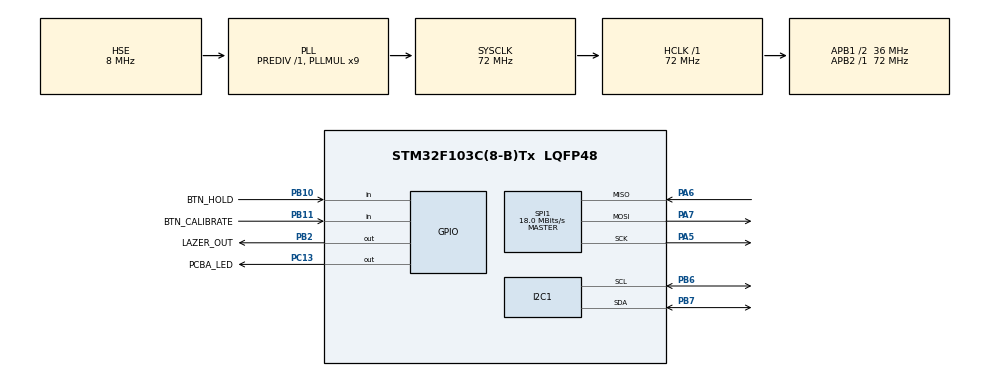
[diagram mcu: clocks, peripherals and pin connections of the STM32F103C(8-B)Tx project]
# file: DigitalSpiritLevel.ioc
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I2C1.I2C_Mode=I2C_Fast
Mcu.Family=STM32F1
Mcu.Name=STM32F103C(8-B)Tx
Mcu.Package=LQFP48
NVIC.PriorityGroup=NVIC_PRIORITYGROUP_4
PA5.Mode=Full_Duplex_Master
PA5.Signal=SPI1_SCK
PA6.Mode=Full_Duplex_Master
PA6.Signal=SPI1_MISO
PA7.Mode=Full_Duplex_Master
PA7.Signal=SPI1_MOSI
PB10.GPIO_Label=BTN_HOLD
PB10.Signal=GPIO_Input
PB11.GPIO_Label=BTN_CALIBRATE
PB11.Signal=GPIO_Input
PB2.GPIO_Label=LAZER_OUT
PB2.Signal=GPIO_Output
PB6.Mode=I2C
PB6.Signal=I2C1_SCL
PB7.Mode=I2C
PB7.Signal=I2C1_SDA
PC13-TAMPER-RTC.GPIO_Label=PCBA_LED
PC13-TAMPER-RTC.Signal=GPIO_Output
PD0-OSC_IN.Mode=HSE-External-Oscillator
PD0-OSC_IN.Signal=RCC_OSC_IN
PD1-OSC_OUT.Mode=HSE-External-Oscillator
PD1-OSC_OUT.Signal=RCC_OSC_OUT
ProjectManager.HeapSize=0x200
ProjectManager.StackSize=0x400
ProjectManager.TargetToolchain=STM32CubeIDE
RCC.AHBFreq_Value=72000000
RCC.APB1CLKDivider=RCC_HCLK_DIV2
RCC.APB1Freq_Value=36000000
RCC.APB1TimFreq_Value=72000000
RCC.APB2Freq_Value=72000000
RCC.APB2TimFreq_Value=72000000
RCC.HCLKFreq_Value=72000000
RCC.PLLMUL=RCC_PLL_MUL9
RCC.PLLSourceVirtual=RCC_PLLSOURCE_HSE
RCC.SYSCLKFreq_VALUE=72000000
RCC.SYSCLKSource=RCC_SYSCLKSOURCE_PLLCLK
RCC.USBFreq_Value=48000000
RCC.USBPrescaler=RCC_USBCLKSOURCE_PLL_DIV1_5
SPI1.BaudRatePrescaler=SPI_BAUDRATEPRESCALER_4
SPI1.CalculateBaudRate=18.0 MBits/s
SPI1.Direction=SPI_DIRECTION_2LINES
SPI1.Mode=SPI_MODE_MASTER
SPI1.VirtualType=VM_MASTER
board=custom

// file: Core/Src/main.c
/* USER CODE BEGIN Header */
/**
 ******************************************************************************
 * @file           : main.c
 * @brief          : Main program body
 ******************************************************************************
 * @attention
 *
 * Copyright (c) 2024 STMicroelectronics.
 * All rights reserved.
 *
 * This software is licensed under terms that can be found in the LICENSE file
 * in the root directory of this software component.
 * If no LICENSE file comes with this software, it is provided AS-IS.
 *
 ******************************************************************************
 */
/* USER CODE END Header */
#include "main.h"

/* USER CODE BEGIN Includes */
#include "MPU6050.h"
#include "ssd1306.h"
#include "ssd1306_fonts.h"
/* USER CODE END Includes */

I2C_HandleTypeDef hi2c1;

SPI_HandleTypeDef hspi1;

/* USER CODE BEGIN PV */
uint8_t btnSet = 0;
/* USER CODE END PV */

void SystemClock_Config(void);
static void MX_GPIO_Init(void);
static void MX_I2C1_Init(void);
static void MX_SPI1_Init(void);

int main(void) {

	/* MCU Configuration--------------------------------------------------------*/

	/* Reset of all peripherals, Initializes the Flash interface and the Systick. */
	HAL_Init();

	/* Configure the system clock */
	SystemClock_Config();

	/* Initialize all configured peripherals */
	MX_GPIO_Init();
	MX_I2C1_Init();
	MX_SPI1_Init();
	/* USER CODE BEGIN 2 */
	char screenData[50];

	MPU6050Init();
	HAL_Delay(100);
	ssd1306_Init();
	HAL_Delay(100);
	ssd1306_Fill(Black);

	//Display calibration message

	ssd1306_Fill(Black);

	ssd1306_SetCursor(0, 0);
	sprintf(screenData, "MPU6050");
	ssd1306_WriteString(screenData, Font_11x18, White);
	ssd1306_UpdateScreen();
	HAL_Delay(1000);

	ssd1306_Fill(Black);
	ssd1306_SetCursor(0, 0);
	sprintf(screenData, "Calibrating...");
	ssd1306_WriteString(screenData, Font_11x18, White);

	ssd1306_UpdateScreen();

	calibrateAccelerometer();
	calibrateGyro();

	/* USER CODE END 2 */

	/* Infinite loop */
	while (1) {

		/* USER CODE BEGIN 3 */
		MPU6050_data_t mpu_data = calculateTiltAngles();

		ssd1306_Fill(Black);
		ssd1306_SetCursor(0, 0);
		sprintf(screenData, "P:%.2f°", mpu_data.pitch);
		ssd1306_WriteString(screenData, Font_7x10, White);

		ssd1306_SetCursor(0, 10);
		sprintf(screenData, "R:%.2f°", mpu_data.roll);
		ssd1306_WriteString(screenData, Font_7x10, White);

		ssd1306_SetCursor(0, 20);
		sprintf(screenData, "aX:%.2f g", mpu_data.aX);
		ssd1306_WriteString(screenData, Font_7x10, White);

		ssd1306_SetCursor(0, 30);
		sprintf(screenData, "aY:%.2f g,", mpu_data.aY);
		ssd1306_WriteString(screenData, Font_7x10, White);

		ssd1306_SetCursor(0, 40);
		sprintf(screenData, "aZ:%.2f g", mpu_data.aZ);
		ssd1306_WriteString(screenData, Font_7x10, White);

		ssd1306_SetCursor(0, 51);
		sprintf(screenData, "2024HT01151 ESZC424");
		ssd1306_WriteString(screenData, Font_6x8, White);

		ssd1306_UpdateScreen();

		HAL_GPIO_TogglePin(GPIOC, PCBA_LED_Pin);

	}
	/* USER CODE END 3 */
}

void SystemClock_Config(void) {
	RCC_OscInitTypeDef RCC_OscInitStruct = { 0 };
	RCC_ClkInitTypeDef RCC_ClkInitStruct = { 0 };

	/** Initializes the RCC Oscillators according to the specified parameters
	 * in the RCC_OscInitTypeDef structure.
	 */
	RCC_OscInitStruct.OscillatorType = RCC_OSCILLATORTYPE_HSE;
	RCC_OscInitStruct.HSEState = RCC_HSE_ON;
	RCC_OscInitStruct.HSEPredivValue = RCC_HSE_PREDIV_DIV1;
	RCC_OscInitStruct.HSIState = RCC_HSI_ON;
	RCC_OscInitStruct.PLL.PLLState = RCC_PLL_ON;
	RCC_OscInitStruct.PLL.PLLSource = RCC_PLLSOURCE_HSE;
	RCC_OscInitStruct.PLL.PLLMUL = RCC_PLL_MUL9;
	if (HAL_RCC_OscConfig(&RCC_OscInitStruct) != HAL_OK) {
		Error_Handler();
	}

	/** Initializes the CPU, AHB and APB buses clocks
	 */
	RCC_ClkInitStruct.ClockType = RCC_CLOCKTYPE_HCLK | RCC_CLOCKTYPE_SYSCLK
			| RCC_CLOCKTYPE_PCLK1 | RCC_CLOCKTYPE_PCLK2;
	RCC_ClkInitStruct.SYSCLKSource = RCC_SYSCLKSOURCE_PLLCLK;
	RCC_ClkInitStruct.AHBCLKDivider = RCC_SYSCLK_DIV1;
	RCC_ClkInitStruct.APB1CLKDivider = RCC_HCLK_DIV2;
	RCC_ClkInitStruct.APB2CLKDivider = RCC_HCLK_DIV1;

	if (HAL_RCC_ClockConfig(&RCC_ClkInitStruct, FLASH_LATENCY_2) != HAL_OK) {
		Error_Handler();
	}
}

static void MX_I2C1_Init(void) {

	hi2c1.Instance = I2C1;
	hi2c1.Init.ClockSpeed = 400000;
	hi2c1.Init.DutyCycle = I2C_DUTYCYCLE_2;
	hi2c1.Init.OwnAddress1 = 0;
	hi2c1.Init.AddressingMode = I2C_ADDRESSINGMODE_7BIT;
	hi2c1.Init.DualAddressMode = I2C_DUALADDRESS_DISABLE;
	hi2c1.Init.OwnAddress2 = 0;
	hi2c1.Init.GeneralCallMode = I2C_GENERALCALL_DISABLE;
	hi2c1.Init.NoStretchMode = I2C_NOSTRETCH_DISABLE;
	if (HAL_I2C_Init(&hi2c1) != HAL_OK) {
		Error_Handler();
	}

}

static void MX_SPI1_Init(void) {

	/* SPI1 parameter configuration*/
	hspi1.Instance = SPI1;
	hspi1.Init.Mode = SPI_MODE_MASTER;
	hspi1.Init.Direction = SPI_DIRECTION_2LINES;
	hspi1.Init.DataSize = SPI_DATASIZE_8BIT;
	hspi1.Init.CLKPolarity = SPI_POLARITY_LOW;
	hspi1.Init.CLKPhase = SPI_PHASE_1EDGE;
	hspi1.Init.NSS = SPI_NSS_SOFT;
	hspi1.Init.BaudRatePrescaler = SPI_BAUDRATEPRESCALER_4;
	hspi1.Init.FirstBit = SPI_FIRSTBIT_MSB;
	hspi1.Init.TIMode = SPI_TIMODE_DISABLE;
	hspi1.Init.CRCCalculation = SPI_CRCCALCULATION_DISABLE;
	hspi1.Init.CRCPolynomial = 10;
	if (HAL_SPI_Init(&hspi1) != HAL_OK) {
		Error_Handler();
	}

}

static void MX_GPIO_Init(void) {
	GPIO_InitTypeDef GPIO_InitStruct = { 0 };

	/* GPIO Ports Clock Enable */
	__HAL_RCC_GPIOC_CLK_ENABLE();
	__HAL_RCC_GPIOD_CLK_ENABLE();
	__HAL_RCC_GPIOA_CLK_ENABLE();
	__HAL_RCC_GPIOB_CLK_ENABLE();

	/*Configure GPIO pin Output Level */
	HAL_GPIO_WritePin(PCBA_LED_GPIO_Port, PCBA_LED_Pin, GPIO_PIN_RESET);

	/*Configure GPIO pin Output Level */
	HAL_GPIO_WritePin(LAZER_OUT_GPIO_Port, LAZER_OUT_Pin, GPIO_PIN_RESET);

	/*Configure GPIO pin : PCBA_LED_Pin */
	GPIO_InitStruct.Pin = PCBA_LED_Pin;
	GPIO_InitStruct.Mode = GPIO_MODE_OUTPUT_PP;
	GPIO_InitStruct.Pull = GPIO_NOPULL;
	GPIO_InitStruct.Speed = GPIO_SPEED_FREQ_LOW;
	HAL_GPIO_Init(PCBA_LED_GPIO_Port, &GPIO_InitStruct);

	/*Configure GPIO pin : LAZER_OUT_Pin */
	GPIO_InitStruct.Pin = LAZER_OUT_Pin;
	GPIO_InitStruct.Mode = GPIO_MODE_OUTPUT_PP;
	GPIO_InitStruct.Pull = GPIO_NOPULL;
	GPIO_InitStruct.Speed = GPIO_SPEED_FREQ_LOW;
	HAL_GPIO_Init(LAZER_OUT_GPIO_Port, &GPIO_InitStruct);

	/*Configure GPIO pins : BTN_HOLD_Pin BTN_CALIBRATE_Pin */
	GPIO_InitStruct.Pin = BTN_HOLD_Pin | BTN_CALIBRATE_Pin;
	GPIO_InitStruct.Mode = GPIO_MODE_INPUT;
	GPIO_InitStruct.Pull = GPIO_NOPULL;
	HAL_GPIO_Init(GPIOB, &GPIO_InitStruct);

}

void Error_Handler(void) {
	__disable_irq();
	while (1) {
	}
}
